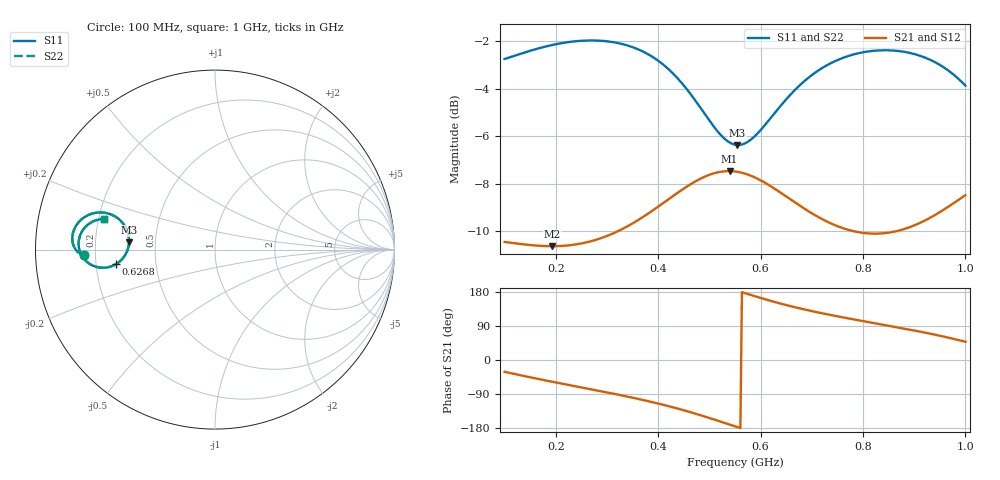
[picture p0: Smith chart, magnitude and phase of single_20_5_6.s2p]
! Created with skrf (http://scikit-rf.org).
# MHz S RI R 376.73031366686166
!freq ReS11 ImS11 ReS21 ImS21 ReS12 ImS12 ReS22 ImS22
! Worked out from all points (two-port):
!   300 points, 100 MHz to 1 GHz, reference 376.73 ohm
!   highest |S21| = -7.47 dB at 539.5 MHz (marker M1); lowest = -10.6 dB at 193.3 MHz (marker M2)
!   |S21| within 3 dB of the highest: start of sweep to 105.4 MHz; 260.4 MHz to end of sweep
!   lowest |S11| = -6.4 dB at 554.5 MHz (marker M3), VSWR 2.85, Z = 132 + j13.8 ohm
!   |S11| at or under -10 dB: nowhere
!   |S22| runs from -6.4 to -2.0 dB; largest |S21 - S12| = 8.3e-16
!   S11 on the Smith chart (normalised r, x): 100 MHz: 0.16, -0.02; 626.8 MHz: 0.28, -0.07; 1 GHz: 0.22, +0.13
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100  -0.7287 -0.0281  0.2568 -0.1555  0.2568 -0.1555  -0.7287 -0.0281
145.1505  -0.7559 -0.0191  0.212 -0.2068  0.212 -0.2068  -0.7559 -0.0191
193.311  -0.7806 0.00684  0.158 -0.2481  0.158 -0.2481  -0.7806 0.00684
250.5017  -0.7948 0.0545  0.0893 -0.2844  0.0893 -0.2844  -0.7948 0.0545
328.7625  -0.7729 0.135  -0.0193 -0.3186  -0.0193 -0.3186  -0.7729 0.135
364.8829  -0.7414 0.1705  -0.0807 -0.3262  -0.0807 -0.3262  -0.7414 0.1705
401.0033  -0.6942 0.1975  -0.1523 -0.3229  -0.1523 -0.3229  -0.6942 0.1975
437.1237  -0.6324 0.207  -0.2335 -0.3005  -0.2335 -0.3005  -0.6324 0.207
470.2341  -0.5696 0.1915  -0.3103 -0.2546  -0.3103 -0.2546  -0.5696 0.1915
509.3645  -0.5059 0.1369  -0.386 -0.163  -0.386 -0.163  -0.5059 0.1369
539.4649  -0.4807 0.0741  -0.4174 -0.0709  -0.4174 -0.0709  -0.4807 0.0741
551.505  -0.4787 0.047  -0.4212 -0.0319  -0.4212 -0.0319  -0.4787 0.047
554.5151  -0.4789 0.0402  -0.4213 -0.0221  -0.4213 -0.0221  -0.4789 0.0402
587.6254  -0.4994 -0.0282  -0.4032 0.0797  -0.4032 0.0797  -0.4994 -0.0282
626.7559  -0.5536 -0.0821  -0.3478 0.1745  -0.3478 0.1745  -0.5536 -0.0821
662.8763  -0.6127 -0.1006  -0.2832 0.2323  -0.2832 0.2323  -0.6127 -0.1006
702.0067  -0.6705 -0.0933  -0.214 0.2694  -0.214 0.2694  -0.6705 -0.0933
777.2575  -0.7425 -0.0336  -0.0995 0.3011  -0.0995 0.3011  -0.7425 -0.0336
852.5084  -0.7589 0.0499  0.000501 0.3144  0.000501 0.3144  -0.7589 0.0499
924.7492  -0.7202 0.1284  0.1073 0.3171  0.1073 0.3171  -0.7202 0.1284
966.8896  -0.6703 0.161  0.1837 0.3053  0.1837 0.3053  -0.6703 0.161
1000  -0.6179 0.1704  0.2517 0.2802  0.2517 0.2802  -0.6179 0.1704
